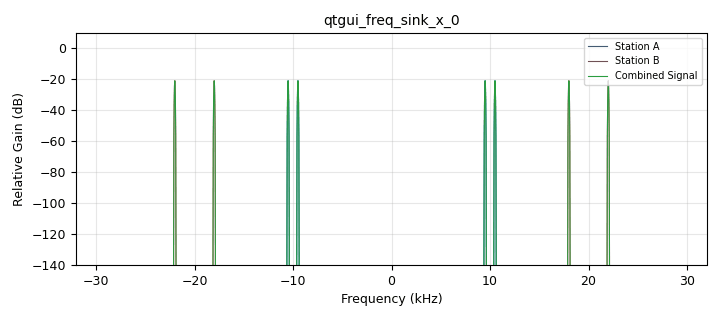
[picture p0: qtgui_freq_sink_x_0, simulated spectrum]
options:
  parameters:
    author: Dhrubjun
    generate_options: qt_gui
    id: exp3
    output_language: python
    title: Two Signals on Different Carriers
  states: {}

blocks:
- name: samp_rate
  id: variable
  parameters:
    value: '64000'
  states: {}
- name: analog_sig_source_x_0
  id: analog_sig_source_x
  parameters:
    amp: '1'
    freq: '2000'
    offset: '0'
    phase: '0'
    samp_rate: samp_rate
    type: float
    waveform: analog.GR_COS_WAVE
  states: {}
- name: analog_sig_source_x_0_0
  id: analog_sig_source_x
  parameters:
    amp: '1'
    freq: '20000'
    offset: '0'
    phase: '0'
    samp_rate: samp_rate
    type: float
    waveform: analog.GR_COS_WAVE
  states: {}
- name: analog_sig_source_x_0_1
  id: analog_sig_source_x
  parameters:
    amp: '1'
    freq: '10000'
    offset: '0'
    phase: '0'
    samp_rate: samp_rate
    type: float
    waveform: analog.GR_COS_WAVE
  states: {}
- name: analog_sig_source_x_0_1_0
  id: analog_sig_source_x
  parameters:
    amp: '1'
    freq: '500'
    offset: '0'
    phase: '0'
    samp_rate: samp_rate
    type: float
    waveform: analog.GR_COS_WAVE
  states: {}
- name: blocks_add_xx_0
  id: blocks_add_xx
  parameters:
    type: float
  states: {}
- name: blocks_multiply_xx_0
  id: blocks_multiply_xx
  parameters:
    type: float
  states: {}
- name: blocks_multiply_xx_0_0
  id: blocks_multiply_xx
  parameters:
    type: float
  states: {}
- name: blocks_throttle2_0
  id: blocks_throttle2
  parameters:
    samples_per_second: samp_rate
    type: float
  states: {}
- name: qtgui_freq_sink_x_0
  id: qtgui_freq_sink_x
  parameters:
    bw: samp_rate
    fc: '0'
    fftsize: '2048'
    label1: Station A
    label2: Station B
    label3: Combined Signal
    nconnections: '3'
    type: float
  states: {}

connections:
- [analog_sig_source_x_0, '0', blocks_multiply_xx_0, '0']
- [analog_sig_source_x_0_0, '0', blocks_multiply_xx_0, '1']
- [analog_sig_source_x_0_1, '0', blocks_multiply_xx_0_0, '1']
- [analog_sig_source_x_0_1_0, '0', blocks_multiply_xx_0_0, '0']
- [blocks_add_xx_0, '0', blocks_throttle2_0, '0']
- [blocks_multiply_xx_0, '0', blocks_add_xx_0, '1']
- [blocks_multiply_xx_0, '0', qtgui_freq_sink_x_0, '1']
- [blocks_multiply_xx_0_0, '0', blocks_add_xx_0, '0']
- [blocks_multiply_xx_0_0, '0', qtgui_freq_sink_x_0, '0']
- [blocks_throttle2_0, '0', qtgui_freq_sink_x_0, '2']

metadata:
  file_format: 1
  grc_version: 3.10.12.0
